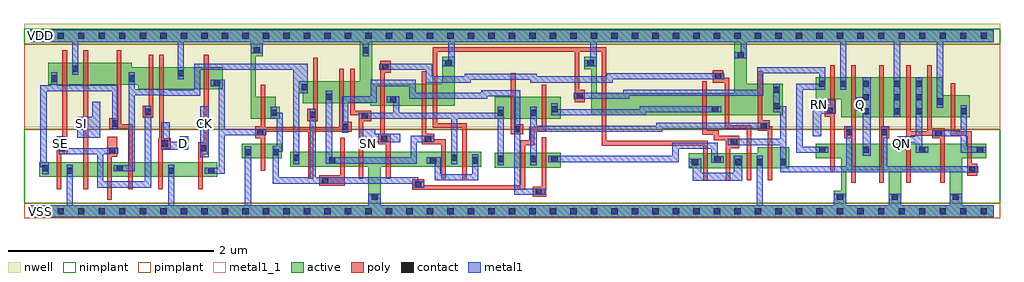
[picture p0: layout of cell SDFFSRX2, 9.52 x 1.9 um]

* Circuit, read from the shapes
.subckt SDFFSRX2 CK D Q QN RN SE SI SN VDD VSS
M1 VSS SE n1 VSS nfet w=0.145u l=0.045u
M2 n2 SI VSS VSS nfet w=0.145u l=0.045u
M3 n3 SE n2 VSS nfet w=0.145u l=0.045u
M4 n4 n1 n3 VSS nfet w=0.145u l=0.045u
M5 VSS D n4 VSS nfet w=0.145u l=0.045u
M6 n5 CK VSS VSS nfet w=0.145u l=0.045u
M7 n6 n5 VSS VSS nfet w=0.145u l=0.045u
M8 n7 n5 n3 VSS nfet w=0.145u l=0.045u
M9 n8 n6 n7 VSS nfet w=0.145u l=0.045u
M10 VSS n9 n8 VSS nfet w=0.145u l=0.045u
M11 n10 SN VSS VSS nfet w=0.145u l=0.045u
M12 n9 n7 n10 VSS nfet w=0.145u l=0.045u
M13 n10 n11 n9 VSS nfet w=0.145u l=0.045u
M14 n12 n6 n9 VSS nfet w=0.145u l=0.045u
M15 n13 n5 n12 VSS nfet w=0.145u l=0.045u
M16 n13 n11 n14 VSS nfet w=0.145u l=0.045u
M17 n14 n15 n13 VSS nfet w=0.145u l=0.045u
M18 VSS SN n14 VSS nfet w=0.145u l=0.045u
M19 n15 n12 VSS VSS nfet w=0.205u l=0.045u
M20 VSS RN n11 VSS nfet w=0.145u l=0.045u
M21 Q n15 VSS VSS nfet w=0.26u l=0.045u m=2
M22 QN n16 VSS VSS nfet w=0.26u l=0.045u m=2
M23 n16 n15 VSS VSS nfet w=0.145u l=0.045u
M24 VDD SE n1 VDD pfet w=0.215u l=0.045u
M25 n17 SI VDD VDD pfet w=0.215u l=0.045u
M26 n3 n1 n17 VDD pfet w=0.215u l=0.045u
M27 n18 SE n3 VDD pfet w=0.215u l=0.045u
M28 VDD D n18 VDD pfet w=0.215u l=0.045u
M29 n5 CK VDD VDD pfet w=0.215u l=0.045u
M30 n6 n5 VDD VDD pfet w=0.215u l=0.045u
M31 n7 n6 n3 VDD pfet w=0.215u l=0.045u
M32 n19 n5 n7 VDD pfet w=0.215u l=0.045u
M33 VDD n9 n19 VDD pfet w=0.215u l=0.045u
M34 n9 SN VDD VDD pfet w=0.215u l=0.045u
M35 n20 n7 n9 VDD pfet w=0.215u l=0.045u
M36 VDD n11 n20 VDD pfet w=0.215u l=0.045u
M37 n12 n5 n9 VDD pfet w=0.215u l=0.045u
M38 n21 n6 n12 VDD pfet w=0.215u l=0.045u
M39 n22 n11 VDD VDD pfet w=0.215u l=0.045u
M40 n21 n15 n22 VDD pfet w=0.215u l=0.045u
M41 VDD SN n21 VDD pfet w=0.215u l=0.045u
M42 n15 n12 VDD VDD pfet w=0.31u l=0.045u
M43 VDD RN n11 VDD pfet w=0.215u l=0.045u
M44 Q n15 VDD VDD pfet w=0.39u l=0.045u m=2
M45 QN n16 VDD VDD pfet w=0.39u l=0.045u m=2
M46 n16 n15 VDD VDD pfet w=0.215u l=0.045u
.ends

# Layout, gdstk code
import gdstk
lib = gdstk.Library(unit=1e-6, precision=5e-10)
def R(c, l, rs):  # rectangles x0, y0, x1, y1
    for r in rs: c.add(gdstk.rectangle(r[:2], r[2:], *l))
def A(c, l, x, y, w, h, nx, ny, dx, dy):  # array of equal rectangles
    R(c, l, [(x+i*dx, y+j*dy, x+i*dx+w, y+j*dy+h) for i in range(nx) for j in range(ny)])
def P(c, l, *ps):  # polygons
    for p in ps: c.add(gdstk.Polygon(p, *l))
active = (1, 0)
nwell = (2, 0)
poly = (3, 0)
nimplant = (4, 0)
pimplant = (5, 0)
contact = (6, 0)
metal1 = (7, 0)
metal1_1 = (7, 1)

sdffsrx2 = lib.new_cell('SDFFSRX2')
R(sdffsrx2, active, [(0.09,0.335,1.825,0.48), (4.53,0.425,5.175,0.57), (2.065,0.515,2.455,0.66), (4.53,0.9,5.175,1.115)])
P(sdffsrx2, active, [(0,1.77),(9.4,1.77),(9.4,1.65),(6.99,1.65),(6.99,1.245),(7.34,1.245),(7.34,0.935),(5.475,0.935),(5.475,1.385),(5.405,1.385),(5.405,1.505),(5.525,1.505),(5.525,1.15),(6.87,1.15),(6.87,1.65),(3.335,1.65),(3.335,1.245),(4.02,1.245),(4.02,1.505),(4.14,1.505),(4.14,1.03),(3.315,1.03),(3.315,1.055),(2.66,1.055),(2.66,1.15),(2.62,1.15),(2.62,1.27),(3.215,1.27),(3.215,1.65),(2.27,1.65),(2.27,1.51),(2.2,1.51),(2.2,1.115),(2.395,1.115),(2.395,1.02),(2.435,1.02),(2.435,0.9),(2.15,0.9),(2.15,1.65),(0,1.65)],
  [(0.175,1.45),(0.99,1.45),(0.99,1.405),(1.88,1.405),(1.88,1.19),(1.055,1.19),(1.055,1.235),(0.175,1.235)],
  [(7.665,1.305),(8.895,1.305),(8.895,1.13),(9.165,1.13),(9.165,0.915),(7.91,0.915),(7.91,1.09),(7.665,1.09)],
  [(2.535,0.58),(4.4,0.58),(4.4,0.435),(3.42,0.435),(3.42,0.06),(7.84,0.06),(7.84,0.2),(7.91,0.2),(7.91,0.4),(7.96,0.4),(7.96,0.06),(8.375,0.06),(8.375,0.4),(8.495,0.4),(8.495,0.06),(8.97,0.06),(8.97,0.4),(7.91,0.4),(7.91,0.515),(7.665,0.515),(7.665,0.66),(9.325,0.66),(9.325,0.515),(9.09,0.515),(9.09,0.06),(9.4,0.06),(9.4,-0.06),(0,-0.06),(0,0.06),(3.3,0.06),(3.3,0.435),(2.535,0.435)],
  [(7.095,0.625),(7.405,0.625),(7.405,0.42),(6.425,0.42),(6.425,0.565),(7.095,0.565)])
R(sdffsrx2, nwell, [(-0.06,0.82,9.46,1.83)])
P(sdffsrx2, poly, [(0.315,1.57),(0.36,1.57),(0.36,0.555),(0.305,0.555),(0.305,0.215),(0.26,0.215),(0.26,0.675),(0.315,0.675)],
  [(0.52,1.57),(0.565,1.57),(0.565,0.215),(0.52,0.215),(0.52,0.8),(0.465,0.8),(0.465,0.92),(0.52,0.92)],
  [(0.845,1.57),(0.89,1.57),(0.89,0.85),(1,0.85),(1,0.215),(0.955,0.215),(0.955,0.805),(0.77,0.805),(0.77,0.905),(0.845,0.905)],
  [(1.155,1.525),(1.2,1.525),(1.2,0.91),(1.1,0.91),(1.1,1.03),(1.155,1.03)],
  [(1.26,1.525),(1.305,1.525),(1.305,0.71),(1.37,0.71),(1.37,0.61),(1.295,0.61),(1.295,0.215),(1.25,0.215),(1.25,0.71),(1.26,0.71)],
  [(1.695,1.525),(1.74,1.525),(1.74,0.555),(1.685,0.555),(1.685,0.215),(1.64,0.215),(1.64,0.675),(1.695,0.675)],
  [(2.76,1.495),(2.805,1.495),(2.805,0.88),(2.705,0.88),(2.705,1),(2.76,1)],
  [(2.25,1.235),(2.295,1.235),(2.295,0.82),(3.015,0.82),(3.015,1.39),(3.06,1.39),(3.06,0.875),(3.135,0.875),(3.135,0.775),(2.76,0.775),(2.76,0.315),(2.715,0.315),(2.715,0.775),(2.295,0.775),(2.295,0.395),(2.25,0.395),(2.25,0.71),(2.195,0.71),(2.195,0.83),(2.25,0.83)],
  [(3.12,1.39),(3.165,1.39),(3.165,0.98),(3.325,0.98),(3.325,0.88),(3.25,0.88),(3.25,0.315),(3.205,0.315),(3.205,0.935),(3.12,0.935)],
  [(3.415,1.47),(3.515,1.47),(3.515,1.35),(3.46,1.35),(3.46,0.755),(3.515,0.755),(3.515,0.315),(3.47,0.315),(3.47,0.655),(3.395,0.655),(3.395,0.755),(3.415,0.755)],
  [(3.925,1.6),(5.62,1.6),(5.62,0.685),(6.61,0.685),(6.61,0.3),(6.565,0.3),(6.565,0.64),(5.575,0.64),(5.575,1.555),(5.355,1.555),(5.355,1.185),(5.41,1.185),(5.41,1.065),(5.31,1.065),(5.31,1.555),(3.97,1.555),(3.97,0.86),(4.26,0.86),(4.26,0.315),(4.215,0.315),(4.215,0.815),(3.925,0.815)],
  [(3.82,1.365),(3.865,1.365),(3.865,0.755),(3.94,0.755),(3.94,0.7),(4.055,0.7),(4.055,0.315),(4.01,0.315),(4.01,0.655),(3.82,0.655)],
  [(4.69,1.345),(4.735,1.345),(4.735,0.85),(4.81,0.85),(4.81,0.75),(4.69,0.75)],
  [(4.99,1.235),(5.035,1.235),(5.035,0.78),(4.915,0.78),(4.915,0.645),(4.83,0.645),(4.83,0.21),(3.725,0.21),(3.725,0.31),(3.845,0.31),(3.845,0.255),(4.785,0.255),(4.785,0.69),(4.87,0.69),(4.87,0.825),(4.99,0.825)],
  [(6.66,1.375),(6.76,1.375),(6.76,1.3),(6.82,1.3),(6.82,0.84),(7.035,0.84),(7.035,0.3),(6.99,0.3),(6.99,0.795),(6.775,0.795),(6.775,1.255),(6.66,1.255)],
  [(6.555,1.27),(6.6,1.27),(6.6,0.79),(6.715,0.79),(6.715,0.735),(6.915,0.735),(6.915,0.615),(6.83,0.615),(6.83,0.3),(6.785,0.3),(6.785,0.69),(6.67,0.69),(6.67,0.745),(6.555,0.745)],
  [(7.095,1.365),(7.14,1.365),(7.14,0.885),(7.215,0.885),(7.215,0.83),(7.24,0.83),(7.24,0.3),(7.195,0.3),(7.195,0.785),(7.095,0.785)],
  [(7.805,1.425),(7.85,1.425),(7.85,0.395),(7.805,0.395),(7.805,0.92),(7.75,0.92),(7.75,1.04),(7.805,1.04)],
  [(8.01,1.425),(8.055,1.425),(8.055,0.28),(8.01,0.28),(8.01,0.71),(7.94,0.71),(7.94,0.83),(8.01,0.83)],
  [(8.28,1.425),(8.325,1.425),(8.325,0.83),(8.38,0.83),(8.38,0.71),(8.325,0.71),(8.325,0.28),(8.28,0.28)],
  [(8.545,1.425),(8.59,1.425),(8.59,0.78),(8.75,0.78),(8.75,1.425),(8.795,1.425),(8.795,0.81),(8.92,0.81),(8.92,0.28),(8.875,0.28),(8.875,0.71),(8.8,0.71),(8.8,0.735),(8.59,0.735),(8.59,0.28),(8.545,0.28)],
  [(8.98,1.25),(9.025,1.25),(9.025,0.78),(9.185,0.78),(9.185,0.465),(9.24,0.465),(9.24,0.345),(9.14,0.345),(9.14,0.735),(8.98,0.735)],
  [(0.75,0.725),(0.85,0.725),(0.85,0.53),(0.795,0.53),(0.795,0.11),(0.75,0.11)],
  [(3.025,0.715),(3.07,0.715),(3.07,0.25),(2.82,0.25),(2.82,0.35),(3.025,0.35)],
  [(4.99,0.72),(5.035,0.72),(5.035,0.14),(4.9,0.14),(4.9,0.24),(4.99,0.24)])
R(sdffsrx2, nimplant, [(-0.06,0.08,9.46,0.8), (-0.06,1.63,9.46,1.78)])
R(sdffsrx2, pimplant, [(-0.06,-0.07,9.46,0.08), (-0.06,0.8,9.46,1.63)])
A(sdffsrx2, contact, 0.07, -0.03, 0.06, 0.06, 47, 2, 0.2, 1.71)
A(sdffsrx2, contact, 8.12, 0.945, 0.06, 0.06, 1, 3, 0, 0.135)
A(sdffsrx2, contact, 8.425, 0.945, 0.06, 0.06, 1, 3, 0, 0.135)
A(sdffsrx2, contact, 8.64, 0.945, 0.06, 0.06, 1, 3, 0, 0.135)
R(sdffsrx2, contact, [(3.33,0.11,3.39,0.17), (7.87,0.11,7.93,0.17), (8.405,0.11,8.465,0.17), (9,0.11,9.06,0.17), (4.93,0.16,4.99,0.22), (3.755,0.23,3.815,0.29), (2.85,0.27,2.91,0.33), (0.355,0.365,0.415,0.425), (1.345,0.365,1.405,0.425), (1.735,0.365,1.795,0.425), (9.16,0.375,9.22,0.435), (0.12,0.39,0.18,0.45), (0.845,0.39,0.905,0.45), (6.455,0.45,6.515,0.51), (6.88,0.45,6.94,0.51), (7.085,0.45,7.145,0.51), (7.315,0.45,7.375,0.51), (2.915,0.465,2.975,0.525), (3.9,0.465,3.96,0.525), (4.31,0.465,4.37,0.525), (6.675,0.475,6.735,0.535), (4.56,0.48,4.62,0.54), (4.88,0.48,4.94,0.54), (5.085,0.48,5.145,0.54), (2.565,0.49,2.625,0.55), (4.105,0.49,4.165,0.55), (2.095,0.545,2.155,0.605), (2.365,0.545,2.425,0.605), (0.77,0.56,0.83,0.62), (7.695,0.57,7.755,0.63), (8.12,0.57,8.18,0.63), (8.67,0.57,8.73,0.63), (9.235,0.57,9.295,0.63), (0.28,0.585,0.34,0.645), (1.66,0.585,1.72,0.645), (1.28,0.63,1.34,0.69), (6.835,0.645,6.895,0.705), (3.425,0.675,3.485,0.735), (3.85,0.675,3.91,0.735), (8.83,0.73,8.89,0.79), (2.215,0.74,2.275,0.8), (7.96,0.74,8.02,0.8), (8.3,0.74,8.36,0.8), (4.72,0.77,4.78,0.83), (3.045,0.795,3.105,0.855), (7.125,0.805,7.185,0.865), (0.8,0.825,0.86,0.885), (0.485,0.83,0.545,0.89), (3.235,0.9,3.295,0.96), (2.725,0.91,2.785,0.97), (2.345,0.93,2.405,0.99), (4.56,0.93,4.62,0.99), (4.88,0.93,4.94,0.99), (1.12,0.94,1.18,1), (9.075,0.945,9.135,1.005), (7.77,0.95,7.83,1.01), (5.085,0.965,5.145,1.025), (6.65,0.965,6.71,1.025), (7.25,0.995,7.31,1.055), (8.845,1.04,8.905,1.1), (3.51,1.06,3.57,1.12), (2.885,1.085,2.945,1.145), (5.33,1.095,5.39,1.155), (7.25,1.155,7.31,1.215), (2.65,1.18,2.71,1.24), (7.695,1.215,7.755,1.275), (7.9,1.215,7.96,1.275), (1.79,1.22,1.85,1.28), (0.205,1.265,0.265,1.325), (0.96,1.265,1.02,1.325), (6.68,1.285,6.74,1.345), (1.44,1.315,1.5,1.375), (0.41,1.36,0.47,1.42), (3.435,1.38,3.495,1.44), (4.05,1.415,4.11,1.475), (5.435,1.415,5.495,1.475), (6.9,1.49,6.96,1.55), (2.18,1.54,2.24,1.6), (3.245,1.54,3.305,1.6)])
R(sdffsrx2, metal1, [(1.66,0.525,1.74,1.025)])
P(sdffsrx2, metal1, [(0.205,1.355),(0.265,1.355),(0.265,1.23),(0.86,1.23),(0.86,0.795),(0.8,0.795),(0.8,1.17),(0.16,1.17),(0.16,0.48),(0.18,0.48),(0.18,0.36),(0.12,0.36),(0.12,0.43),(0.1,0.43),(0.1,1.23),(0.205,1.23)],
  [(0,1.77),(9.4,1.77),(9.4,1.65),(8.905,1.65),(8.905,1.01),(8.845,1.01),(8.845,1.65),(8.485,1.65),(8.485,0.915),(8.425,0.915),(8.425,1.65),(7.96,1.65),(7.96,1.185),(7.9,1.185),(7.9,1.65),(6.99,1.65),(6.99,1.49),(6.87,1.49),(6.87,1.55),(6.93,1.55),(6.93,1.65),(5.525,1.65),(5.525,1.415),(5.405,1.415),(5.405,1.475),(5.465,1.475),(5.465,1.65),(4.14,1.65),(4.14,1.415),(4.02,1.415),(4.02,1.475),(4.08,1.475),(4.08,1.65),(3.305,1.65),(3.305,1.51),(3.245,1.51),(3.245,1.65),(2.27,1.65),(2.27,1.54),(2.15,1.54),(2.15,1.65),(1.5,1.65),(1.5,1.285),(1.44,1.285),(1.44,1.65),(0.47,1.65),(0.47,1.33),(0.41,1.33),(0.41,1.65),(0,1.65)],
  [(1.6,1.44),(2.71,1.44),(2.71,1.15),(2.625,1.15),(2.625,0.46),(2.565,0.46),(2.565,1.38),(1.66,1.38),(1.66,1.125),(1.28,1.125),(1.28,1.13),(1.02,1.13),(1.02,0.39),(0.815,0.39),(0.815,0.45),(0.96,0.45),(0.96,1.355),(1.02,1.355),(1.02,1.19),(1.34,1.19),(1.34,1.185),(1.6,1.185)],
  [(0.605,1.07),(0.685,1.07),(0.685,0.715),(0.46,0.715),(0.46,0.92),(0.605,0.92)],
  [(0.26,0.73),(0.34,0.73),(0.34,0.615),(0.74,0.615),(0.74,0.62),(0.86,0.62),(0.86,0.56),(0.775,0.56),(0.775,0.555),(0.715,0.555),(0.715,0.29),(1.12,0.29),(1.12,1.03),(1.18,1.03),(1.18,0.23),(0.655,0.23),(0.655,0.555),(0.28,0.555),(0.28,0.6),(0.26,0.6)],
  [(0.355,0.455),(0.415,0.455),(0.415,0.06),(1.345,0.06),(1.345,0.455),(1.405,0.455),(1.405,0.06),(2.095,0.06),(2.095,0.635),(2.155,0.635),(2.155,0.06),(3.3,0.06),(3.3,0.17),(3.42,0.17),(3.42,0.06),(7.085,0.06),(7.085,0.54),(7.145,0.54),(7.145,0.06),(7.84,0.06),(7.84,0.17),(7.96,0.17),(7.96,0.06),(8.375,0.06),(8.375,0.17),(8.495,0.17),(8.495,0.06),(8.97,0.06),(8.97,0.17),(9.09,0.17),(9.09,0.06),(9.4,0.06),(9.4,-0.06),(0,-0.06),(0,0.06),(0.355,0.06)],
  [(3.405,1.44),(3.92,1.44),(3.92,1.315),(4.24,1.315),(4.24,1.34),(4.94,1.34),(4.94,1.315),(5.625,1.315),(5.625,1.345),(6.77,1.345),(6.77,1.285),(5.685,1.285),(5.685,1.255),(4.88,1.255),(4.88,1.28),(4.3,1.28),(4.3,1.255),(3.86,1.255),(3.86,1.38),(3.405,1.38)],
  [(2.885,1.175),(2.945,1.175),(2.945,0.525),(3.71,0.525),(3.71,0.735),(3.94,0.735),(3.94,0.675),(3.77,0.675),(3.77,0.465),(2.885,0.465)],
  [(1.76,1.28),(1.9,1.28),(1.9,0.8),(2.305,0.8),(2.305,0.74),(1.9,0.74),(1.9,0.365),(1.705,0.365),(1.705,0.425),(1.84,0.425),(1.84,1.22),(1.76,1.22)],
  [(1.28,0.87),(1.36,0.87),(1.36,0.68),(1.46,0.68),(1.46,0.73),(1.54,0.73),(1.54,0.6),(1.28,0.6)],
  [(2.345,1.02),(2.405,1.02),(2.405,0.96),(2.465,0.96),(2.465,0.58),(2.425,0.58),(2.425,0.33),(2.725,0.33),(2.725,1),(2.785,1),(2.785,0.33),(3.785,0.33),(3.785,0.29),(3.845,0.29),(3.845,0.23),(3.725,0.23),(3.725,0.27),(2.365,0.27),(2.365,0.64),(2.405,0.64),(2.405,0.9),(2.345,0.9)],
  [(3.32,1.28),(3.76,1.28),(3.76,1.155),(4.4,1.155),(4.4,1.18),(4.78,1.18),(4.78,0.22),(5.02,0.22),(5.02,0.16),(4.72,0.16),(4.72,1.12),(4.46,1.12),(4.46,1.095),(3.7,1.095),(3.7,1.22),(3.38,1.22),(3.38,1.06),(3.105,1.06),(3.105,0.765),(3.045,0.765),(3.045,1.12),(3.32,1.12)],
  [(3.48,1.12),(3.6,1.12),(3.6,0.96),(4.56,0.96),(4.56,1.02),(4.62,1.02),(4.62,0.45),(4.56,0.45),(4.56,0.9),(4.165,0.9),(4.165,0.46),(4.105,0.46),(4.105,0.9),(3.205,0.9),(3.205,0.96),(3.54,0.96),(3.54,1.06),(3.48,1.06)],
  [(7.09,1.405),(7.755,1.405),(7.755,1.185),(7.535,1.185),(7.535,0.63),(7.785,0.63),(7.785,0.57),(7.475,0.57),(7.475,1.245),(7.695,1.245),(7.695,1.345),(7.15,1.345),(7.15,1.125),(5.845,1.125),(5.845,1.095),(5.3,1.095),(5.3,1.155),(5.785,1.155),(5.785,1.185),(7.09,1.185)],
  [(3.205,0.8),(3.365,0.8),(3.365,0.755),(3.61,0.755),(3.61,0.675),(3.365,0.675),(3.365,0.625),(3.205,0.625)],
  [(4.88,1.02),(4.94,1.02),(4.94,0.835),(6.105,0.835),(6.105,0.865),(7.215,0.865),(7.215,0.805),(6.165,0.805),(6.165,0.775),(4.94,0.775),(4.94,0.45),(4.88,0.45)],
  [(5.085,1.055),(5.145,1.055),(5.145,0.995),(5.945,0.995),(5.945,1.025),(6.74,1.025),(6.74,0.965),(6.005,0.965),(6.005,0.935),(5.085,0.935)],
  [(3.87,0.525),(4.005,0.525),(4.005,0.36),(4.31,0.36),(4.31,0.555),(4.37,0.555),(4.37,0.3),(3.945,0.3),(3.945,0.465),(3.87,0.465)],
  [(7.25,1.245),(7.31,1.245),(7.31,1.025),(7.375,1.025),(7.375,0.44),(7.96,0.44),(7.96,0.83),(8.02,0.83),(8.02,0.44),(8.3,0.44),(8.3,0.83),(8.36,0.83),(8.36,0.44),(9.25,0.44),(9.25,0.375),(9.13,0.375),(9.13,0.38),(7.315,0.38),(7.315,0.645),(6.805,0.645),(6.805,0.705),(7.315,0.705),(7.315,0.965),(7.25,0.965)],
  [(8.12,1.305),(8.2,1.305),(8.2,0.54),(8.12,0.54),(8.12,0.98),(8.06,0.98),(8.06,1.11),(8.12,1.11)],
  [(6.265,0.67),(6.705,0.67),(6.705,0.535),(6.765,0.535),(6.765,0.475),(6.645,0.475),(6.645,0.61),(6.325,0.61),(6.325,0.48),(5.055,0.48),(5.055,0.54),(6.265,0.54)],
  [(6.425,0.51),(6.545,0.51),(6.545,0.375),(6.865,0.375),(6.865,0.54),(6.945,0.54),(6.945,0.295),(6.465,0.295),(6.465,0.43),(6.425,0.43)],
  [(8.64,1.305),(8.7,1.305),(8.7,0.63),(8.76,0.63),(8.76,0.57),(8.64,0.57),(8.64,0.67),(8.54,0.67),(8.54,0.6),(8.46,0.6),(8.46,0.73),(8.64,0.73)],
  [(7.635,1.085),(7.86,1.085),(7.86,0.95),(7.715,0.95),(7.715,0.73),(7.635,0.73)],
  [(9.075,1.035),(9.135,1.035),(9.135,0.63),(9.325,0.63),(9.325,0.57),(9.075,0.57),(9.075,0.73),(8.8,0.73),(8.8,0.79),(9.075,0.79)])
R(sdffsrx2, metal1_1, [(0.06,-0.04,0.14,0.04), (0.26,0.625,0.34,0.705), (1.46,0.625,1.54,0.705), (3.26,0.625,3.34,0.705), (8.46,0.625,8.54,0.705), (0.46,0.815,0.54,0.895), (1.66,0.815,1.74,0.895), (7.66,1.005,7.74,1.085), (8.06,1.005,8.14,1.085), (0.06,1.67,0.14,1.75)])
sdffsrx2.add(gdstk.Label('QN', (8.5,0.665), layer=7, texttype=1))
sdffsrx2.add(gdstk.Label('Q', (8.1,1.045), layer=7, texttype=1))
sdffsrx2.add(gdstk.Label('RN', (7.7,1.045), layer=7, texttype=1))
sdffsrx2.add(gdstk.Label('SN', (3.3,0.665), layer=7, texttype=1))
sdffsrx2.add(gdstk.Label('CK', (1.7,0.855), layer=7, texttype=1))
sdffsrx2.add(gdstk.Label('D', (1.5,0.665), layer=7, texttype=1))
sdffsrx2.add(gdstk.Label('SI', (0.5,0.855), layer=7, texttype=1))
sdffsrx2.add(gdstk.Label('SE', (0.3,0.665), layer=7, texttype=1))
sdffsrx2.add(gdstk.Label('VDD', (0.1,1.71), layer=7, texttype=1))
sdffsrx2.add(gdstk.Label('VSS', (0.1,0), layer=7, texttype=1))
sdffsrx2.add(gdstk.Label('SDFFSRX2', (0,0), layer=63, texttype=0))

lib.write_gds('SDFFSRX2.gds')
